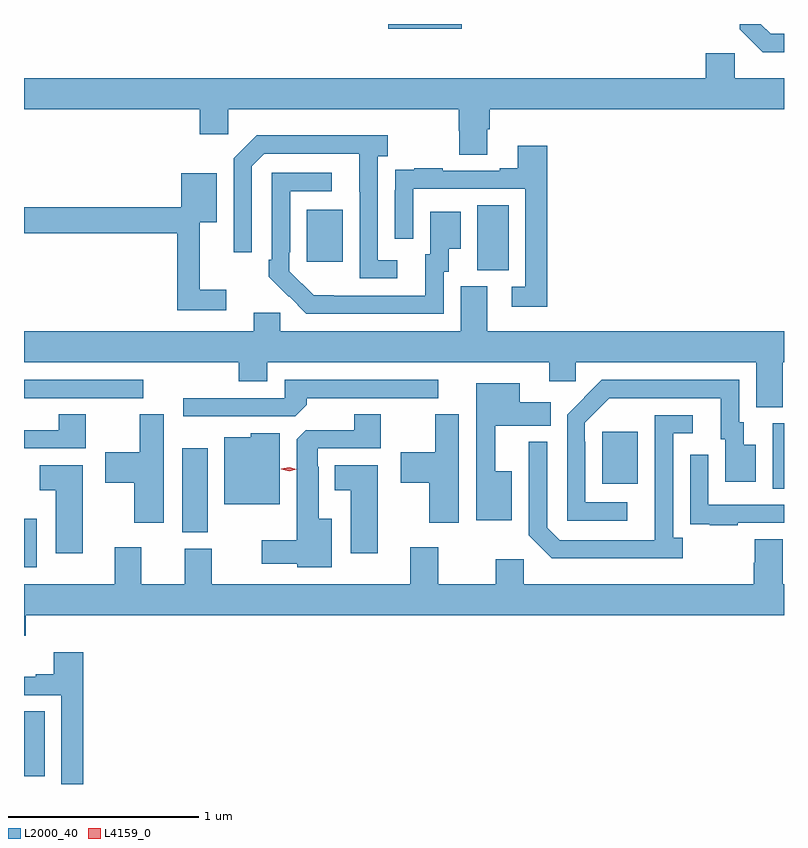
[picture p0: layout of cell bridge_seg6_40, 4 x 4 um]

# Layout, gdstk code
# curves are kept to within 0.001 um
import gdstk
lib = gdstk.Library(unit=1e-6, precision=1e-09)
def R(c, l, rs):  # rectangles x0, y0, x1, y1
    for r in rs: c.add(gdstk.rectangle(r[:2], r[2:], *l))
def P(c, l, *ps):  # polygons
    for p in ps: c.add(gdstk.Polygon(p, *l))
L2000_40 = (2000, 40)
L4159_0 = (4159, 0)

bridge_seg6_40 = lib.new_cell('bridge_seg6_40')
R(bridge_seg6_40, L2000_40, [(1067.182,987.781,1067.29,988.124), (1067.182,988.883,1067.248,989.137), (1068.014,989.065,1068.148,989.509), (1071.122,989.296,1071.182,989.64), (1070.225,989.321,1070.413,989.596), (1067.182,989.772,1067.809,989.868), (1069.568,990.445,1069.732,990.788), (1068.671,990.489,1068.859,990.763), (1069.098,991.715,1069.486,991.741), (1070.456,991.739,1070.8,991.741)])
P(bridge_seg6_40, L2000_40, [(1071.182,991.689),(1071.111,991.689),(1071.059,991.741),(1070.949,991.741),(1070.949,991.713),(1071.07,991.592),(1071.182,991.592)],
  [(1069.621,991.186),(1069.634,991.186),(1069.634,991.292),(1071.182,991.292),(1071.182,991.456),(1070.922,991.456),(1070.922,991.588),(1070.771,991.588),(1070.771,991.456),(1067.182,991.456),(1067.182,991.292),(1068.107,991.292),(1068.107,991.161),(1068.258,991.161),(1068.258,991.292),(1069.469,991.292),(1069.469,991.179),(1069.474,991.179),(1069.474,991.054),(1069.621,991.054)],
  [(1069.147,990.498),(1069.044,990.498),(1069.044,991.046),(1069.096,991.046),(1069.096,991.156),(1068.406,991.156),(1068.285,991.035),(1068.285,990.54),(1068.381,990.54),(1068.381,990.993),(1068.447,991.059),(1068.947,991.059),(1068.948,990.402),(1069.147,990.402)],
  [(1069.937,991.099),(1069.781,991.099),(1069.781,990.982),(1069.685,990.982),(1069.685,990.969),(1069.385,990.969),(1069.385,990.982),(1069.237,990.982),(1069.237,990.975),(1069.135,990.975),(1069.135,990.866),(1069.134,990.866),(1069.134,990.612),(1069.23,990.612),(1069.23,990.873),(1069.821,990.873),(1069.821,990.357),(1069.749,990.357),(1069.749,990.252),(1069.937,990.252)],
  [(1069.392,990.438),(1069.417,990.438),(1069.417,990.557),(1069.48,990.557),(1069.48,990.754),(1069.319,990.754),(1069.319,990.528),(1069.295,990.528),(1069.295,990.312),(1068.708,990.313),(1068.579,990.441),(1068.579,990.541),(1068.582,990.541),(1068.582,990.861),(1068.802,990.861),(1068.802,990.957),(1068.486,990.957),(1068.486,990.499),(1068.471,990.499),(1068.471,990.411),(1068.668,990.216),(1069.392,990.216)],
  [(1068.247,990.343),(1068.107,990.343),(1068.107,990.698),(1068.196,990.698),(1068.196,990.955),(1068.009,990.955),(1068.009,990.776),(1067.182,990.776),(1067.182,990.64),(1067.989,990.64),(1067.989,990.234),(1068.247,990.234)],
  [(1071.175,989.96),(1071.182,989.96),(1071.182,990.124),(1069.621,990.124),(1069.621,990.36),(1069.481,990.36),(1069.481,990.124),(1068.531,990.124),(1068.531,990.222),(1068.392,990.222),(1068.392,990.124),(1067.182,990.124),(1067.182,989.96),(1068.311,989.96),(1068.311,989.861),(1068.463,989.861),(1068.463,989.96),(1069.946,989.96),(1069.946,989.862),(1070.085,989.862),(1070.085,989.96),(1071.035,989.96),(1071.035,989.725),(1071.175,989.725)],
  [(1068.671,989.738),(1068.671,989.772),(1069.363,989.772),(1069.363,989.868),(1068.555,989.868),(1068.555,989.772),(1068.021,989.772),(1068.021,989.676),(1068.609,989.676)],
  [(1070.356,989.223),(1070.136,989.223),(1070.136,989.543),(1070.133,989.543),(1070.133,989.643),(1070.262,989.772),(1070.849,989.772),(1070.849,989.556),(1070.873,989.556),(1070.873,989.331),(1071.034,989.331),(1071.034,989.527),(1070.971,989.527),(1070.971,989.646),(1070.946,989.646),(1070.946,989.868),(1070.222,989.868),(1070.131,989.777),(1070.132,989.776),(1070.04,989.685),(1070.04,989.127),(1070.356,989.127)],
  [(1069.75,989.386),(1069.661,989.386),(1069.661,989.627),(1069.955,989.627),(1069.955,989.749),(1069.792,989.749),(1069.792,989.851),(1069.563,989.851),(1069.563,989.129),(1069.75,989.129)],
  [(1067.506,989.687),(1067.366,989.687),(1067.366,989.604),(1067.182,989.604),(1067.182,989.508),(1067.506,989.508)],
  [(1068.802,989.137),(1068.733,989.137),(1068.733,989.411),(1068.729,989.411),(1068.729,989.508),(1069.06,989.508),(1069.06,989.687),(1068.92,989.687),(1068.92,989.604),(1068.666,989.604),(1068.617,989.555),(1068.617,989.023),(1068.432,989.023),(1068.432,988.901),(1068.621,988.901),(1068.621,988.883),(1068.802,988.883)],
  [(1069.471,989.686),(1069.346,989.686),(1069.346,989.488),(1069.164,989.488),(1069.164,989.326),(1069.316,989.326),(1069.316,989.115),(1069.471,989.115)],
  [(1067.917,989.686),(1067.792,989.686),(1067.792,989.488),(1067.61,989.488),(1067.61,989.326),(1067.762,989.326),(1067.762,989.115),(1067.917,989.115)],
  [(1070.65,989.038),(1070.598,989.038),(1070.598,989.586),(1070.701,989.586),(1070.701,989.682),(1070.502,989.682),(1070.501,989.025),(1070.001,989.025),(1069.935,989.091),(1069.935,989.542),(1069.839,989.542),(1069.839,989.049),(1069.96,988.928),(1070.65,988.928)],
  [(1068.529,989.587),(1068.375,989.587),(1068.375,989.566),(1068.236,989.566),(1068.236,989.213),(1068.529,989.213)],
  [(1070.939,989.115),(1071.182,989.115),(1071.182,989.211),(1070.784,989.211),(1070.784,989.473),(1070.688,989.473),(1070.688,989.218),(1070.689,989.218),(1070.689,989.109),(1070.791,989.109),(1070.791,989.103),(1070.939,989.103)],
  [(1067.491,989.419),(1067.264,989.419),(1067.264,989.288),(1067.348,989.288),(1067.348,988.956),(1067.491,988.956)],
  [(1069.045,989.419),(1068.818,989.419),(1068.818,989.288),(1068.902,989.288),(1068.902,988.956),(1069.045,988.956)],
  [(1067.192,988.628),(1071.182,988.628),(1071.182,988.792),(1071.175,988.792),(1071.175,989.03),(1071.028,989.03),(1071.028,988.905),(1071.023,988.905),(1071.023,988.792),(1069.812,988.792),(1069.812,988.924),(1069.666,988.924),(1069.666,988.792),(1069.362,988.792),(1069.362,988.987),(1069.214,988.987),(1069.214,988.792),(1068.169,988.792),(1068.169,988.98),(1068.029,988.98),(1068.029,988.792),(1067.8,988.792),(1067.8,988.987),(1067.66,988.987),(1067.66,988.792),(1067.182,988.792),(1067.182,988.522),(1067.192,988.522)],
  [(1067.495,988.435),(1067.339,988.435),(1067.339,988.318),(1067.243,988.318),(1067.243,988.305),(1067.182,988.305),(1067.182,988.209),(1067.379,988.209),(1067.379,987.741),(1067.495,987.741)])
P(bridge_seg6_40, L4159_0, [(1068.577,989.388),(1068.536,989.398),(1068.536,989.399),(1068.536,989.399),(1068.577,989.408),(1068.618,989.398),(1068.618,989.398),(1068.618,989.398)])

lib.write_gds('bridge_seg6_40.gds')
